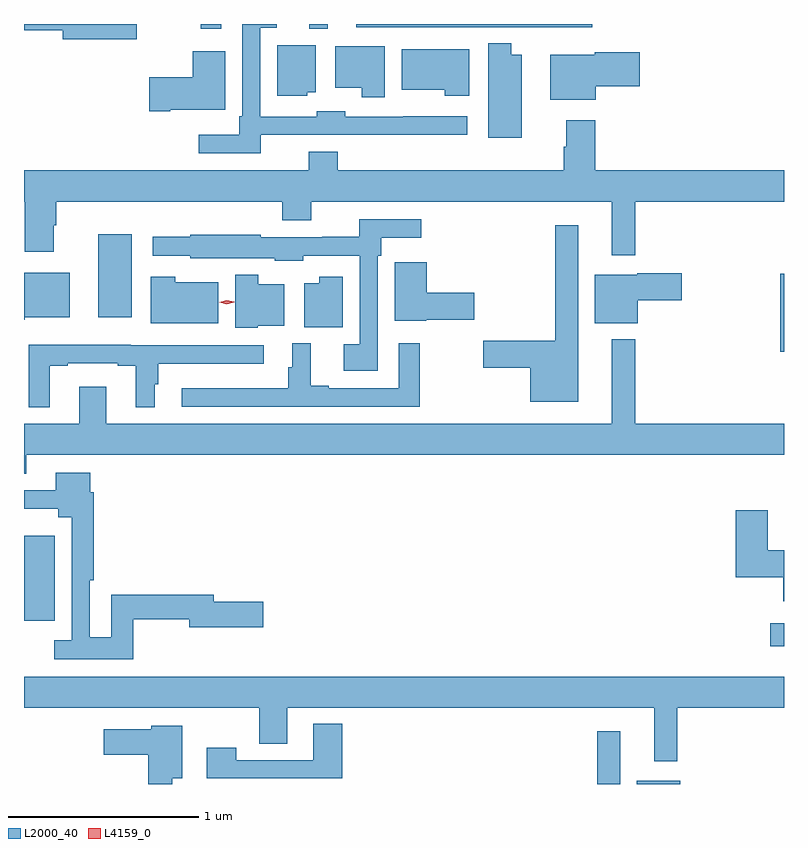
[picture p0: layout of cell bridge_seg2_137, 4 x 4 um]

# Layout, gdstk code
import gdstk
lib = gdstk.Library(unit=1e-6, precision=1e-09)
def R(c, l, rs):  # rectangles x0, y0, x1, y1
    for r in rs: c.add(gdstk.rectangle(r[:2], r[2:], *l))
def P(c, l, *ps):  # polygons
    for p in ps: c.add(gdstk.Polygon(p, *l))
L2000_40 = (2000, 40)
L4159_0 = (4159, 0)

bridge_seg2_137 = lib.new_cell('bridge_seg2_137')
R(bridge_seg2_137, L2000_40, [(582.186,587.295,582.307,587.572), (582.395,587.295,582.622,587.311), (583.097,588.02,583.169,588.142), (579.17,588.153,579.331,588.601), (583.148,589.571,583.169,589.981), (579.56,589.751,579.736,590.188), (580.098,591.27,580.206,591.295), (580.67,591.27,580.768,591.295)])
P(bridge_seg2_137, L2000_40, [(579.763,591.295),(579.169,591.295),(579.169,591.262),(579.374,591.262),(579.374,591.215),(579.763,591.215)],
  [(582.161,591.295),(580.917,591.295),(580.917,591.279),(581.83,591.279),(581.83,591.278),(582.161,591.278)],
  [(580.416,590.711),(581.503,590.711),(581.503,590.809),(581.164,590.809),(581.164,590.808),(580.86,590.808),(580.86,590.836),(580.71,590.836),(580.71,590.808),(580.413,590.808),(580.413,591.275),(580.498,591.275),(580.498,591.295),(580.317,591.295),(580.317,590.809),(580.301,590.809),(580.301,590.713),(580.089,590.713),(580.089,590.616),(580.416,590.616)],
  [(581.788,591.133),(581.734,591.133),(581.734,591.194),(581.612,591.194),(581.612,590.696),(581.788,590.696)],
  [(580.659,590.936),(580.705,590.936),(580.705,591.184),(580.502,591.184),(580.502,590.918),(580.659,590.918)],
  [(581.068,591.178),(580.808,591.178),(580.808,590.96),(580.946,590.96),(580.946,590.91),(581.068,590.91)],
  [(581.512,591.163),(581.156,591.163),(581.156,590.948),(581.383,590.948),(581.383,590.918),(581.512,590.918)],
  [(579.94,590.844),(580.227,590.844),(580.227,590.947),(580.228,590.947),(580.228,591.151),(580.058,591.151),(580.058,591.014),(579.828,591.014),(579.828,590.836),(579.94,590.836)],
  [(582.178,590.968),(582.409,590.968),(582.409,591.146),(582.174,591.146),(582.174,591.133),(581.939,591.133),(581.939,590.897),(582.178,590.897)],
  [(582.385,590.36),(583.169,590.36),(583.169,590.524),(582.176,590.524),(582.176,590.788),(582.023,590.788),(582.023,590.648),(582.011,590.648),(582.011,590.524),(580.82,590.524),(580.82,590.623),(580.667,590.623),(580.667,590.524),(579.169,590.524),(579.169,590.36),(579.173,590.36),(579.173,590.097),(579.325,590.097),(579.325,590.237),(579.338,590.237),(579.338,590.36),(580.529,590.36),(580.529,590.261),(580.681,590.261),(580.681,590.36),(582.263,590.36),(582.263,590.079),(582.385,590.079)],
  [(581.031,590.075),(581.048,590.075),(581.048,590.171),(581.26,590.171),(581.26,590.268),(580.933,590.268),(580.933,590.174),(580.738,590.174),(580.738,590.172),(580.416,590.172),(580.416,590.185),(580.044,590.185),(580.044,590.174),(579.846,590.174),(579.846,590.076),(580.044,590.076),(580.044,590.063),(580.488,590.063),(580.488,590.048),(580.638,590.048),(580.638,590.076),(580.935,590.076),(580.935,589.609),(580.851,589.609),(580.851,589.469),(581.031,589.469)],
  [(582.085,590.236),(581.964,590.236),(581.964,589.917),(581.966,589.917),(581.966,589.628),(581.586,589.628),(581.586,589.486),(581.834,589.486),(581.834,589.307),(582.085,589.307)],
  [(581.286,589.739),(581.539,589.739),(581.539,589.881),(581.29,589.881),(581.29,590.04),(581.121,590.04),(581.121,589.937),(581.12,589.937),(581.12,589.733),(581.286,589.733)],
  [(579.174,589.751),(579.409,589.751),(579.409,589.987),(579.17,589.987),(579.17,589.917),(579.169,589.917),(579.169,589.739),(579.174,589.739)],
  [(582.4,589.841),(582.631,589.841),(582.631,589.983),(582.396,589.983),(582.396,589.975),(582.173,589.975),(582.173,589.721),(582.4,589.721)],
  [(580.398,589.706),(580.54,589.706),(580.54,589.924),(580.402,589.924),(580.402,589.975),(580.28,589.975),(580.28,589.697),(580.398,589.697)],
  [(580.192,589.936),(579.966,589.936),(579.966,589.966),(579.836,589.966),(579.836,589.721),(580.192,589.721)],
  [(580.846,589.966),(580.724,589.966),(580.724,589.93),(580.643,589.93),(580.643,589.7),(580.846,589.7)],
  [(579.181,589.028),(583.169,589.028),(583.169,589.192),(582.385,589.192),(582.385,589.636),(582.263,589.636),(582.263,589.192),(579.601,589.192),(579.601,589.387),(579.461,589.387),(579.461,589.192),(579.169,589.192),(579.169,588.929),(579.181,588.929)],
  [(581.251,589.615),(581.142,589.615),(581.142,589.377),(580.774,589.377),(580.774,589.39),(580.678,589.39),(580.678,589.615),(580.58,589.615),(580.58,589.488),(580.561,589.488),(580.561,589.378),(579.999,589.378),(579.999,589.281),(581.251,589.281)],
  [(579.304,589.497),(579.4,589.497),(579.4,589.509),(579.662,589.509),(579.662,589.497),(579.758,589.497),(579.758,589.277),(579.856,589.277),(579.856,589.398),(579.875,589.398),(579.875,589.508),(580.432,589.508),(580.432,589.605),(579.732,589.605),(579.732,589.606),(579.195,589.606),(579.195,589.277),(579.304,589.277)],
  [(579.743,588.162),(580.04,588.162),(580.04,588.119),(580.429,588.119),(580.429,588.254),(580.168,588.254),(580.168,588.29),(579.627,588.29),(579.627,588.068),(579.516,588.068),(579.516,588.367),(579.536,588.367),(579.536,588.83),(579.517,588.83),(579.517,588.934),(579.335,588.934),(579.335,588.84),(579.169,588.84),(579.169,588.744),(579.35,588.744),(579.35,588.698),(579.42,588.698),(579.42,588.052),(579.327,588.052),(579.327,587.952),(579.743,587.952)],
  [(583.169,588.526),(583.084,588.526),(583.084,588.736),(582.914,588.736),(582.914,588.383),(583.166,588.383),(583.166,588.257),(583.169,588.257)],
  [(582.607,587.696),(583.169,587.696),(583.169,587.86),(579.169,587.86),(579.169,587.696),(580.408,587.696),(580.408,587.506),(580.555,587.506),(580.555,587.696),(582.485,587.696),(582.485,587.415),(582.607,587.415)],
  [(580.844,587.611),(580.691,587.611),(580.691,587.421),(580.287,587.421),(580.287,587.485),(580.131,587.485),(580.131,587.325),(580.844,587.325)],
  [(579.949,587.324),(580.003,587.324),(580.003,587.602),(579.84,587.602),(579.84,587.584),(579.588,587.584),(579.588,587.45),(579.824,587.45),(579.824,587.295),(579.949,587.295)])
P(bridge_seg2_137, L4159_0, [(580.236,589.821),(580.196,589.83),(580.196,589.831),(580.196,589.831),(580.236,589.841),(580.276,589.832),(580.276,589.831),(580.276,589.831)])

lib.write_gds('bridge_seg2_137.gds')
